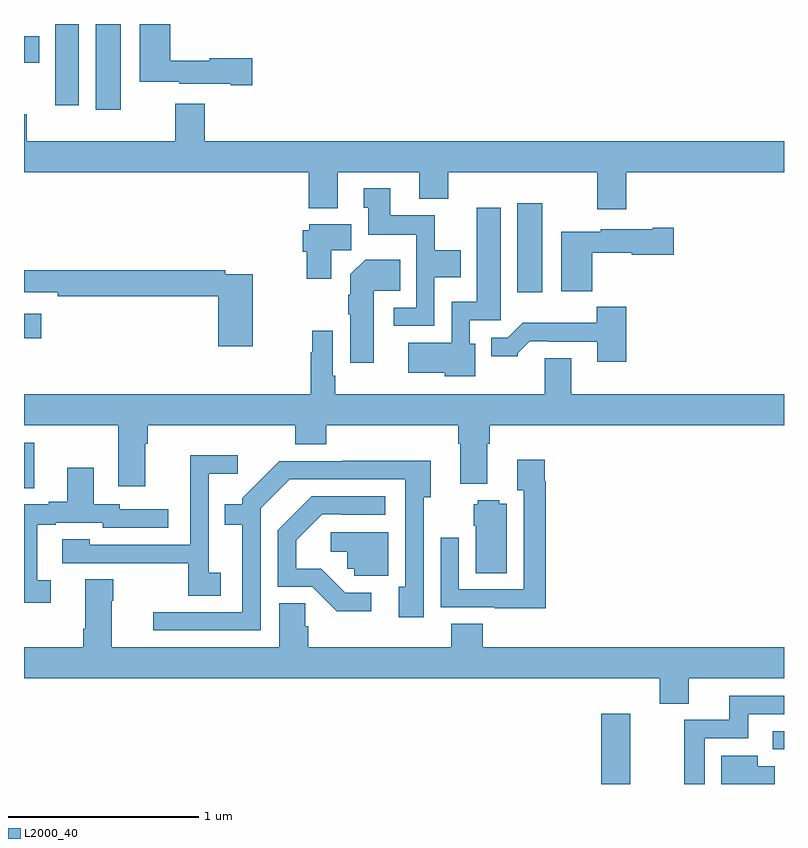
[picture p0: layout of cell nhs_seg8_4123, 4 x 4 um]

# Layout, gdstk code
import gdstk
lib = gdstk.Library(unit=1e-6, precision=1e-09)
def R(c, l, rs):  # rectangles x0, y0, x1, y1
    for r in rs: c.add(gdstk.rectangle(r[:2], r[2:], *l))
def P(c, l, *ps):  # polygons
    for p in ps: c.add(gdstk.Polygon(p, *l))
L2000_40 = (2000, 40)

nhs_seg8_4123 = lib.new_cell('nhs_seg8_4123')
R(nhs_seg8_4123, L2000_40, [(366.038,1159.9,366.192,1160.269), (366.942,1160.082,367,1160.178), (363,1161.457,363.055,1161.696), (363,1162.246,363.091,1162.375), (365.597,1162.488,365.728,1162.957), (363.377,1163.448,363.508,1163.9), (363.164,1163.472,363.289,1163.9), (363,1163.696,363.079,1163.836)])
P(nhs_seg8_4123, L2000_40, [(364.201,1163.72),(363.978,1163.72),(363.978,1163.707),(363.77,1163.707),(363.77,1163.9),(363.608,1163.9),(363.608,1163.597),(363.816,1163.597),(363.816,1163.585),(364.088,1163.585),(364.088,1163.578),(364.201,1163.578)],
  [(366.17,1163.12),(367,1163.12),(367,1163.284),(363.95,1163.284),(363.95,1163.479),(363.797,1163.479),(363.797,1163.284),(363.014,1163.284),(363.014,1163.425),(363,1163.425),(363,1163.12),(364.499,1163.12),(364.499,1162.931),(364.651,1162.931),(364.651,1163.12),(365.081,1163.12),(365.081,1162.979),(365.234,1162.979),(365.234,1163.12),(366.017,1163.12),(366.017,1162.926),(366.17,1162.926)],
  [(365.16,1162.568),(365.299,1162.568),(365.299,1162.708),(365.163,1162.708),(365.163,1162.894),(364.927,1162.894),(364.927,1163.035),(364.787,1163.035),(364.787,1162.932),(364.811,1162.932),(364.811,1162.79),(365.064,1162.79),(365.064,1162.407),(364.947,1162.407),(364.947,1162.311),(365.16,1162.311)],
  [(365.374,1162.218),(365.346,1162.218),(365.346,1162.341),(365.509,1162.341),(365.509,1162.933),(365.384,1162.933),(365.384,1162.438),(365.25,1162.438),(365.25,1162.222),(365.022,1162.222),(365.022,1162.064),(365.214,1162.064),(365.214,1162.046),(365.374,1162.046)],
  [(364.618,1162.708),(364.723,1162.708),(364.723,1162.846),(364.5,1162.846),(364.5,1162.815),(364.466,1162.815),(364.466,1162.701),(364.489,1162.701),(364.489,1162.56),(364.618,1162.56)],
  [(365.99,1162.697),(366.198,1162.697),(366.198,1162.685),(366.421,1162.685),(366.421,1162.827),(366.308,1162.827),(366.308,1162.819),(366.036,1162.819),(366.036,1162.807),(365.828,1162.807),(365.828,1162.493),(365.99,1162.493)],
  [(364.84,1162.496),(364.979,1162.496),(364.979,1162.66),(364.796,1162.66),(364.718,1162.582),(364.718,1162.475),(364.706,1162.475),(364.706,1162.372),(364.718,1162.372),(364.718,1162.116),(364.84,1162.116)],
  [(364.205,1162.584),(364.058,1162.584),(364.058,1162.604),(363,1162.604),(363,1162.488),(363.178,1162.488),(363.178,1162.468),(364.022,1162.468),(364.022,1162.203),(364.205,1162.203)],
  [(366.17,1162.411),(366.015,1162.411),(366.015,1162.327),(365.626,1162.327),(365.547,1162.248),(365.459,1162.248),(365.459,1162.151),(365.598,1162.151),(365.598,1162.166),(365.662,1162.23),(365.761,1162.23),(365.761,1162.227),(366.017,1162.227),(366.017,1162.122),(366.17,1162.122)],
  [(364.639,1162.048),(364.626,1162.048),(364.626,1162.285),(364.518,1162.285),(364.518,1162.172),(364.51,1162.172),(364.51,1161.952),(363,1161.952),(363,1161.788),(363.497,1161.788),(363.497,1161.468),(363.637,1161.468),(363.637,1161.692),(363.65,1161.692),(363.65,1161.788),(364.427,1161.788),(364.427,1161.689),(364.592,1161.689),(364.592,1161.788),(365.285,1161.788),(365.285,1161.692),(365.297,1161.692),(365.297,1161.479),(365.437,1161.479),(365.437,1161.692),(365.45,1161.692),(365.45,1161.788),(367,1161.788),(367,1161.952),(365.881,1161.952),(365.881,1162.142),(365.741,1162.142),(365.741,1161.952),(364.639,1161.952)],
  [(364.036,1161.012),(363.972,1161.012),(363.972,1161.533),(364.126,1161.533),(364.126,1161.631),(363.874,1161.631),(363.874,1161.392),(363.876,1161.392),(363.876,1161.159),(363.345,1161.159),(363.345,1161.187),(363.201,1161.187),(363.201,1161.063),(363.559,1161.063),(363.559,1161.061),(363.864,1161.061),(363.864,1160.89),(364.036,1160.89)],
  [(365.747,1161.494),(365.74,1161.494),(365.74,1161.607),(365.597,1161.607),(365.597,1161.446),(365.631,1161.446),(365.631,1160.925),(365.289,1160.925),(365.289,1161.196),(365.193,1161.196),(365.193,1160.829),(365.477,1160.829),(365.477,1160.825),(365.747,1160.825)],
  [(364.245,1161.351),(364.398,1161.504),(365.007,1161.504),(365.007,1160.938),(364.973,1160.938),(364.973,1160.778),(365.103,1160.778),(365.103,1161.41),(365.14,1161.41),(365.14,1161.602),(364.675,1161.602),(364.675,1161.6),(364.344,1161.6),(364.149,1161.405),(364.149,1161.373),(364.057,1161.373),(364.057,1161.264),(364.148,1161.264),(364.148,1160.805),(363.681,1160.805),(363.681,1160.709),(364.245,1160.709)],
  [(363.142,1160.973),(363.07,1160.973),(363.07,1161.264),(363.166,1161.264),(363.166,1161.276),(363.414,1161.276),(363.414,1161.249),(363.76,1161.249),(363.76,1161.345),(363.504,1161.345),(363.504,1161.372),(363.367,1161.372),(363.367,1161.565),(363.227,1161.565),(363.227,1161.385),(363.131,1161.385),(363.131,1161.372),(363,1161.372),(363,1160.853),(363.142,1160.853)],
  [(364.828,1160.907),(364.692,1160.907),(364.565,1161.034),(364.432,1161.034),(364.432,1161.184),(364.569,1161.321),(364.669,1161.321),(364.669,1161.318),(364.9,1161.318),(364.9,1161.414),(364.514,1161.414),(364.335,1161.235),(364.335,1160.937),(364.518,1160.937),(364.646,1160.81),(364.828,1160.81)],
  [(365.542,1161.376),(365.502,1161.376),(365.502,1161.394),(365.388,1161.394),(365.388,1161.372),(365.366,1161.372),(365.366,1161.258),(365.378,1161.258),(365.378,1161.01),(365.542,1161.01)],
  [(364.918,1161.225),(364.614,1161.225),(364.614,1161.122),(364.701,1161.122),(364.701,1161.033),(364.737,1161.033),(364.737,1160.997),(364.918,1160.997)],
  [(366.499,1160.456),(367,1160.456),(367,1160.62),(365.414,1160.62),(365.414,1160.744),(365.249,1160.744),(365.249,1160.62),(364.496,1160.62),(364.496,1160.73),(364.481,1160.73),(364.481,1160.852),(364.343,1160.852),(364.343,1160.62),(363.463,1160.62),(363.463,1160.864),(363.471,1160.864),(363.471,1160.977),(363.323,1160.977),(363.323,1160.716),(363.311,1160.716),(363.311,1160.62),(363,1160.62),(363,1160.456),(366.347,1160.456),(366.347,1160.323),(366.499,1160.323)],
  [(366.582,1160.142),(366.811,1160.142),(366.811,1160.268),(367,1160.268),(367,1160.364),(366.713,1160.364),(366.713,1160.238),(366.474,1160.238),(366.474,1159.9),(366.582,1159.9)],
  [(366.952,1159.993),(366.862,1159.993),(366.862,1160.05),(366.671,1160.05),(366.671,1159.9),(366.952,1159.9)])

lib.write_gds('nhs_seg8_4123.gds')
